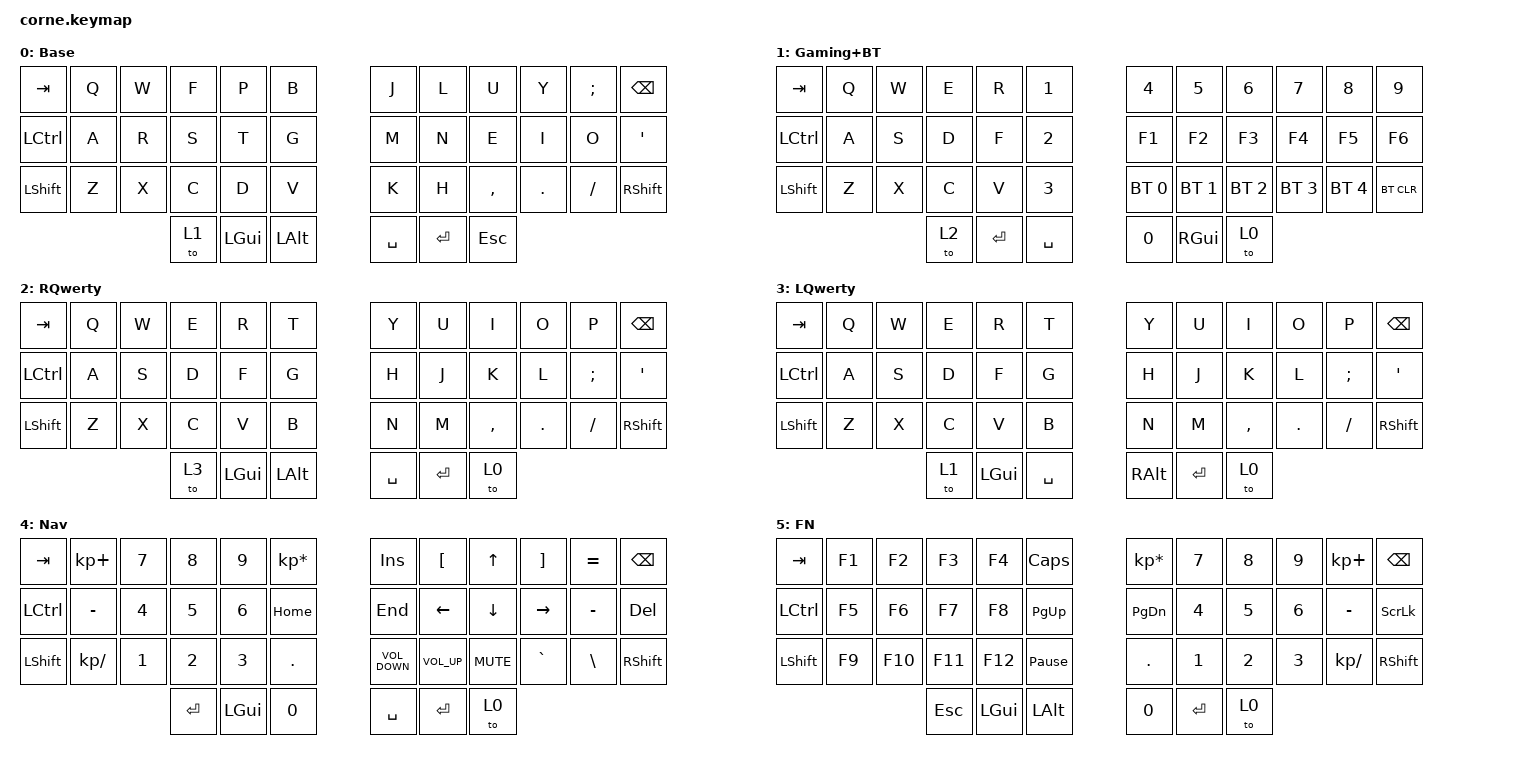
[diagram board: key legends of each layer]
/*
 * Copyright (c) 2020 The ZMK Contributors
 *
 * SPDX-License-Identifier: MIT
 */

#include <behaviors.dtsi>
#include <dt-bindings/zmk/bt.h>
#include <dt-bindings/zmk/keys.h>

/ {
    combos {
        compatible = "zmk,combos";

        NavToggle {
            bindings = <&tog 4>;
            key-positions = <38 16>;
        };

        FNToggle {
            bindings = <&tog 5>;
            key-positions = <39 19>;
        };
    };

    keymap {
        compatible = "zmk,keymap";

        Zero {
            // -----------------------------------------------------------------------------------------
            // |  TAB |  Q  |  W  |  E  |  R  |  T  |   |  Y  |  U   |  I  |  O  |  P  | BKSP |
            // | CTRL |  A  |  S  |  D  |  F  |  G  |   |  H  |  J   |  K  |  L  |  ;  |  '   |
            // | SHFT |  Z  |  X  |  C  |  V  |  B  |   |  N  |  M   |  ,  |  .  |  /  | ESC  |
            //                    | GUI | LWR | SPC |   | ENT | RSE  | ALT |

            label = "Base";
            bindings = <
&kp TAB    &kp Q  &kp W  &kp F  &kp P     &kp B           &kp J      &kp L      &kp U       &kp Y    &kp SEMI  &kp BSPC
&kp LCTRL  &kp A  &kp R  &kp S  &kp T     &kp G           &kp M      &kp N      &kp E       &kp I    &kp O     &kp SQT
&kp LSHFT  &kp Z  &kp X  &kp C  &kp D     &kp V           &kp K      &kp H      &kp COMMA   &kp DOT  &kp FSLH  &kp RIGHT_SHIFT
                         &to 1  &kp LGUI  &kp LEFT_ALT    &kp SPACE  &kp ENTER  &kp ESCAPE
            >;
        };

        Gaming+BT {
            bindings = <
&kp TAB    &kp Q  &kp W  &kp E  &kp R      &kp N1       &kp NUMBER_4  &kp N5        &kp NUMBER_6  &kp N7        &kp N8        &kp N9
&kp LCTRL  &kp A  &kp S  &kp D  &kp F      &kp N2       &kp F1        &kp F2        &kp F3        &kp F4        &kp F5        &kp F6
&kp LSHFT  &kp Z  &kp X  &kp C  &kp V      &kp N3       &bt BT_SEL 0  &bt BT_SEL 1  &bt BT_SEL 2  &bt BT_SEL 3  &bt BT_SEL 4  &bt BT_CLR
                         &to 2  &kp ENTER  &kp SPACE    &kp N0        &kp RGUI      &to 0
            >;
        };

        RQwerty {
            bindings = <
&kp TAB     &kp Q  &kp W  &kp E  &kp R         &kp T           &kp Y      &kp U      &kp I      &kp O       &kp P          &kp BACKSPACE
&kp LCTRL   &kp A  &kp S  &kp D  &kp F         &kp G           &kp H      &kp J      &kp K      &kp L       &kp SEMICOLON  &kp SQT
&kp LSHIFT  &kp Z  &kp X  &kp C  &kp V         &kp B           &kp N      &kp M      &kp COMMA  &kp PERIOD  &kp SLASH      &kp RIGHT_SHIFT
                          &to 3  &kp LEFT_GUI  &kp LEFT_ALT    &kp SPACE  &kp ENTER  &to 0
            >;
        };

        LQwerty {
            bindings = <
&kp TAB    &kp Q  &kp W  &kp E  &kp R     &kp T        &kp Y     &kp U      &kp I      &kp O    &kp P     &kp BSPC
&kp LCTRL  &kp A  &kp S  &kp D  &kp F     &kp G        &kp H     &kp J      &kp K      &kp L    &kp SEMI  &kp APOS
&kp LSHFT  &kp Z  &kp X  &kp C  &kp V     &kp B        &kp N     &kp M      &kp COMMA  &kp DOT  &kp FSLH  &kp RSHFT
                         &to 1  &kp LGUI  &kp SPACE    &kp RALT  &kp ENTER  &to 0
            >;
        };

        Nav+LNum {
            // -----------------------------------------------------------------------------------------
            // |  TAB |  1  |  2  |  3  |  4  |  5  |   |  6  |  7  |  8  |  9  |  0  | BKSP |
            // | BTCLR| BT1 | BT2 | BT3 | BT4 | BT5 |   | LFT | DWN |  UP | RGT |     |      |
            // | SHFT |     |     |     |     |     |   |     |     |     |     |     |      |
            //                    | GUI |     | SPC |   | ENT |     | ALT |

            label = "Nav";
            bindings = <
&kp TAB           &kp KP_PLUS    &kp N7        &kp N8        &kp N9        &kp KP_MULTIPLY    &kp INS            &kp LEFT_BRACKET  &kp UP_ARROW  &kp RIGHT_BRACKET  &kp EQUAL      &kp BACKSPACE
&kp LEFT_CONTROL  &kp MINUS      &kp NUMBER_4  &kp N5        &kp NUMBER_6  &kp HOME           &kp END            &kp LEFT_ARROW    &kp DOWN      &kp RIGHT          &kp MINUS      &kp DELETE
&kp LSHFT         &kp KP_DIVIDE  &kp NUMBER_1  &kp NUMBER_2  &kp NUMBER_3  &kp PERIOD         &kp C_VOLUME_DOWN  &kp C_VOLUME_UP   &kp C_MUTE    &kp GRAVE          &kp BACKSLASH  &kp RIGHT_SHIFT
                                               &kp ENTER     &kp LGUI      &kp N0             &kp SPACE          &kp ENTER         &to 0
            >;
        };

        FN+RNum {
            // -----------------------------------------------------------------------------------------
            // |  TAB |  !  |  @  |  #  |  $  |  %  |   |  ^  |  &  |  *  |  (  |  )  | BKSP |
            // | CTRL |     |     |     |     |     |   |  -  |  =  |  [  |  ]  |  \  |  `   |
            // | SHFT |     |     |     |     |     |   |  _  |  +  |  {  |  }  | "|" |  ~   |
            //                    | GUI |     | SPC |   | ENT |     | ALT |

            label = "FN";
            bindings = <
&kp TAB    &kp F1  &kp F2   &kp F3      &kp F4    &kp CAPSLOCK       &kp KP_MULTIPLY  &kp N7        &kp N8        &kp N9        &kp KP_PLUS    &kp BSPC
&kp LCTRL  &kp F5  &kp F6   &kp F7      &kp F8    &kp PG_UP          &kp PAGE_DOWN    &kp NUMBER_4  &kp N5        &kp N6        &kp MINUS      &kp SCROLLLOCK
&kp LSHFT  &kp F9  &kp F10  &kp F11     &kp F12   &kp PAUSE_BREAK    &kp PERIOD       &kp NUMBER_1  &kp NUMBER_2  &kp NUMBER_3  &kp KP_DIVIDE  &kp RIGHT_SHIFT
                            &kp ESCAPE  &kp LGUI  &kp LEFT_ALT       &kp N0           &kp ENTER     &to 0
            >;
        };
    };
};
